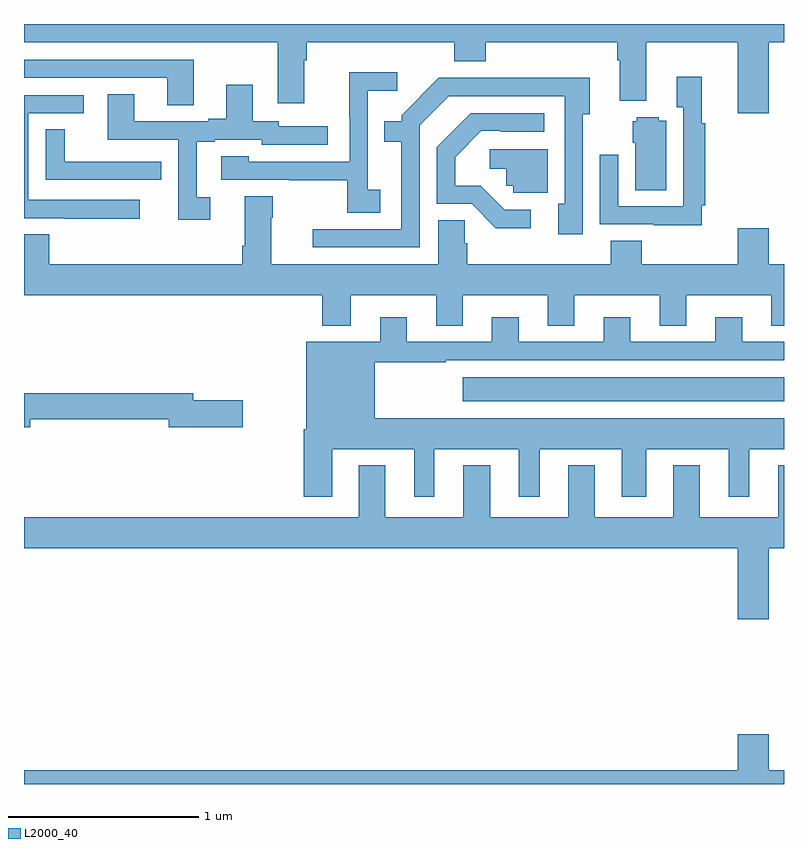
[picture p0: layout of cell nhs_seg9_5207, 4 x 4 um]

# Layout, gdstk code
import gdstk
lib = gdstk.Library(unit=1e-6, precision=1e-09)
def R(c, l, rs):  # rectangles x0, y0, x1, y1
    for r in rs: c.add(gdstk.rectangle(r[:2], r[2:], *l))
def P(c, l, *ps):  # polygons
    for p in ps: c.add(gdstk.Polygon(p, *l))
L2000_40 = (2000, 40)

nhs_seg9_5207 = lib.new_cell('nhs_seg9_5207')
R(nhs_seg9_5207, L2000_40, [(415.308,1210.514,417,1210.642)])
P(nhs_seg9_5207, L2000_40, [(416.92,1212.404),(417,1212.404),(417,1212.5),(413,1212.5),(413,1212.404),(414.335,1212.404),(414.335,1212.084),(414.475,1212.084),(414.475,1212.308),(414.488,1212.308),(414.488,1212.404),(415.265,1212.404),(415.265,1212.305),(415.43,1212.305),(415.43,1212.404),(416.123,1212.404),(416.123,1212.308),(416.135,1212.308),(416.135,1212.095),(416.275,1212.095),(416.275,1212.404),(416.756,1212.404),(416.756,1212.03),(416.92,1212.03)],
  [(413.893,1212.312),(413,1212.312),(413,1212.216),(413.753,1212.216),(413.753,1212.073),(413.893,1212.073)],
  [(414.874,1211.628),(414.81,1211.628),(414.81,1212.149),(414.964,1212.149),(414.964,1212.247),(414.712,1212.247),(414.712,1212.008),(414.714,1212.008),(414.714,1211.775),(414.183,1211.775),(414.183,1211.803),(414.039,1211.803),(414.039,1211.679),(414.397,1211.679),(414.397,1211.677),(414.702,1211.677),(414.702,1211.506),(414.874,1211.506)],
  [(416.567,1211.545),(416.585,1211.545),(416.585,1211.978),(416.567,1211.978),(416.567,1212.223),(416.435,1212.223),(416.435,1212.062),(416.469,1212.062),(416.469,1211.541),(416.127,1211.541),(416.127,1211.812),(416.031,1211.812),(416.031,1211.445),(416.315,1211.445),(416.315,1211.441),(416.567,1211.441)],
  [(415.083,1211.967),(415.236,1212.12),(415.845,1212.12),(415.845,1211.554),(415.811,1211.554),(415.811,1211.394),(415.941,1211.394),(415.941,1212.026),(415.978,1212.026),(415.978,1212.218),(415.513,1212.218),(415.513,1212.216),(415.182,1212.216),(414.987,1212.021),(414.987,1211.989),(414.895,1211.989),(414.895,1211.88),(414.986,1211.88),(414.986,1211.421),(414.519,1211.421),(414.519,1211.325),(415.083,1211.325)],
  [(413.98,1211.589),(413.908,1211.589),(413.908,1211.88),(414.004,1211.88),(414.004,1211.892),(414.252,1211.892),(414.252,1211.865),(414.598,1211.865),(414.598,1211.961),(414.342,1211.961),(414.342,1211.988),(414.205,1211.988),(414.205,1212.181),(414.065,1212.181),(414.065,1212.001),(413.969,1212.001),(413.969,1211.988),(413.581,1211.988),(413.581,1212.131),(413.441,1212.131),(413.441,1211.892),(413.811,1211.892),(413.811,1211.469),(413.98,1211.469)],
  [(413.608,1211.574),(413.022,1211.574),(413.022,1212.03),(413.314,1212.03),(413.314,1212.126),(413,1212.126),(413,1211.478),(413.215,1211.478),(413.215,1211.476),(413.608,1211.476)],
  [(415.666,1211.523),(415.53,1211.523),(415.403,1211.65),(415.27,1211.65),(415.27,1211.8),(415.407,1211.937),(415.507,1211.937),(415.507,1211.934),(415.738,1211.934),(415.738,1212.03),(415.352,1212.03),(415.173,1211.851),(415.173,1211.553),(415.356,1211.553),(415.484,1211.426),(415.666,1211.426)],
  [(416.38,1211.992),(416.34,1211.992),(416.34,1212.01),(416.226,1212.01),(416.226,1211.988),(416.204,1211.988),(416.204,1211.874),(416.216,1211.874),(416.216,1211.626),(416.38,1211.626)],
  [(413.722,1211.774),(413.609,1211.774),(413.609,1211.775),(413.214,1211.775),(413.214,1211.945),(413.115,1211.945),(413.115,1211.679),(413.722,1211.679)],
  [(415.756,1211.841),(415.452,1211.841),(415.452,1211.738),(415.539,1211.738),(415.539,1211.649),(415.575,1211.649),(415.575,1211.613),(415.756,1211.613)],
  [(415.309,1211.072),(415.757,1211.072),(415.757,1210.912),(415.897,1210.912),(415.897,1211.072),(416.345,1211.072),(416.345,1210.912),(416.485,1210.912),(416.485,1211.072),(416.933,1211.072),(416.933,1210.912),(417,1210.912),(417,1211.236),(416.92,1211.236),(416.92,1211.425),(416.756,1211.425),(416.756,1211.236),(416.252,1211.236),(416.252,1211.36),(416.087,1211.36),(416.087,1211.236),(415.334,1211.236),(415.334,1211.346),(415.319,1211.346),(415.319,1211.468),(415.181,1211.468),(415.181,1211.236),(414.301,1211.236),(414.301,1211.48),(414.309,1211.48),(414.309,1211.593),(414.161,1211.593),(414.161,1211.332),(414.149,1211.332),(414.149,1211.236),(413.132,1211.236),(413.132,1211.393),(413,1211.393),(413,1211.072),(414.569,1211.072),(414.569,1210.913),(414.721,1210.913),(414.721,1211.072),(415.169,1211.072),(415.169,1210.912),(415.309,1210.912)],
  [(414.622,1210.262),(415.055,1210.262),(415.055,1210.011),(415.159,1210.011),(415.159,1210.262),(415.604,1210.262),(415.604,1210.011),(415.714,1210.011),(415.714,1210.262),(416.147,1210.262),(416.147,1210.011),(416.275,1210.011),(416.275,1210.262),(416.708,1210.262),(416.708,1210.011),(416.818,1210.011),(416.818,1210.262),(417,1210.262),(417,1210.426),(414.847,1210.426),(414.847,1210.719),(415.22,1210.719),(415.22,1210.731),(417,1210.731),(417,1210.827),(416.779,1210.827),(416.779,1210.957),(416.639,1210.957),(416.639,1210.827),(416.191,1210.827),(416.191,1210.957),(416.051,1210.957),(416.051,1210.827),(415.603,1210.827),(415.603,1210.957),(415.463,1210.957),(415.463,1210.827),(415.015,1210.827),(415.015,1210.957),(414.875,1210.957),(414.875,1210.828),(414.485,1210.828),(414.485,1210.366),(414.473,1210.366),(414.473,1210.011),(414.622,1210.011)],
  [(413.032,1210.42),(413.762,1210.42),(413.762,1210.378),(414.151,1210.378),(414.151,1210.52),(413.89,1210.52),(413.89,1210.556),(413,1210.556),(413,1210.378),(413.032,1210.378)],
  [(416.92,1209.74),(417,1209.74),(417,1210.177),(416.969,1210.177),(416.969,1209.904),(416.557,1209.904),(416.557,1210.177),(416.417,1210.177),(416.417,1209.904),(416.005,1209.904),(416.005,1210.177),(415.865,1210.177),(415.865,1209.904),(415.453,1209.904),(415.453,1210.177),(415.313,1210.177),(415.313,1209.904),(414.901,1209.904),(414.901,1210.177),(414.761,1210.177),(414.761,1209.904),(413,1209.904),(413,1209.74),(416.756,1209.74),(416.756,1209.366),(416.92,1209.366)],
  [(413,1208.5),(417,1208.5),(417,1208.572),(416.92,1208.572),(416.92,1208.761),(416.756,1208.761),(416.756,1208.572),(413,1208.572)])

lib.write_gds('nhs_seg9_5207.gds')
